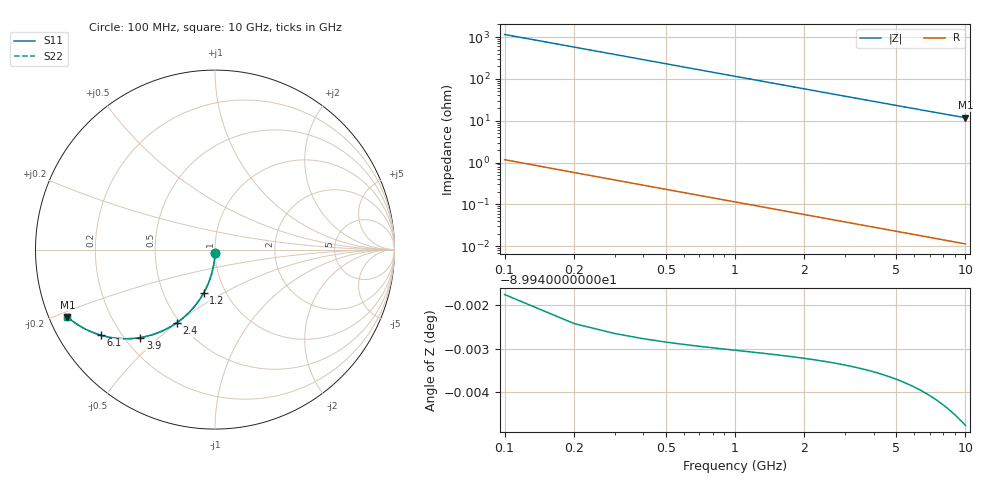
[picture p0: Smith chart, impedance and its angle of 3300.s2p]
# Hz S RI R 50.00
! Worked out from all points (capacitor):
!   100 points, 100 MHz to 10 GHz, reference 50 ohm
!   read as one part in shunt: C = 1.38 pF near 100 MHz
!   lowest |Z| = 11.8 ohm at 10 GHz (marker M1)
!   S11 on the Smith chart (normalised r, x): 100 MHz: 1.00, -0.04; 1.2 GHz: 0.79, -0.41; 2.4 GHz: 0.48, -0.50; 3.9 GHz: 0.26, -0.44; 6.1 GHz: 0.13, -0.33; 10 GHz: 0.05, -0.22
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1e8  -0.000481 -0.0217  0.9995 -0.0218  0.9995 -0.0218  -0.000481 -0.0217
2e8  -0.00192 -0.0433  0.9981 -0.0435  0.9981 -0.0435  -0.00192 -0.0433
3e8  -0.00429 -0.0648  0.9957 -0.0651  0.9957 -0.0651  -0.00429 -0.0648
4e8  -0.00758 -0.0861  0.9924 -0.0866  0.9924 -0.0866  -0.00758 -0.0861
5e8  -0.0118 -0.1071  0.9882 -0.1077  0.9882 -0.1077  -0.0118 -0.1071
6e8  -0.0168 -0.1279  0.9831 -0.1286  0.9831 -0.1286  -0.0168 -0.1279
7e8  -0.0228 -0.1483  0.9772 -0.1491  0.9772 -0.1491  -0.0228 -0.1483
9e8  -0.037 -0.1878  0.963 -0.1889  0.963 -0.1889  -0.037 -0.1878
1.2e9  -0.0639 -0.2433  0.9361 -0.2448  0.9361 -0.2448  -0.0639 -0.2433
1.5e9  -0.0962 -0.2935  0.9038 -0.2953  0.9038 -0.2953  -0.0962 -0.2935
1.8e9  -0.1327 -0.3377  0.8672 -0.3399  0.8672 -0.3399  -0.1327 -0.3377
2.1e9  -0.1722 -0.3758  0.8277 -0.3784  0.8277 -0.3784  -0.1722 -0.3758
2.4e9  -0.2135 -0.4078  0.7865 -0.4108  0.7865 -0.4108  -0.2135 -0.4078
2.9e9  -0.2835 -0.4484  0.7165 -0.452  0.7165 -0.452  -0.2835 -0.4484
3.4e9  -0.3519 -0.475  0.6481 -0.4791  0.6481 -0.4791  -0.3519 -0.475
3.9e9  -0.4163 -0.4901  0.5836 -0.4948  0.5836 -0.4948  -0.4163 -0.4901
5.1e9  -0.5487 -0.494  0.4513 -0.5003  0.4513 -0.5003  -0.5487 -0.494
6.1e9  -0.6344 -0.4773  0.3656 -0.4849  0.3656 -0.4849  -0.6344 -0.4773
6.7e9  -0.6764 -0.4632  0.3235 -0.4715  0.3235 -0.4715  -0.6764 -0.4632
7.5e9  -0.7234 -0.4421  0.2765 -0.4515  0.2765 -0.4515  -0.7234 -0.4421
8.4e9  -0.7662 -0.4175  0.2337 -0.428  0.2337 -0.428  -0.7662 -0.4175
1e10  -0.8226 -0.3751  0.1773 -0.3877  0.1773 -0.3877  -0.8226 -0.3751
